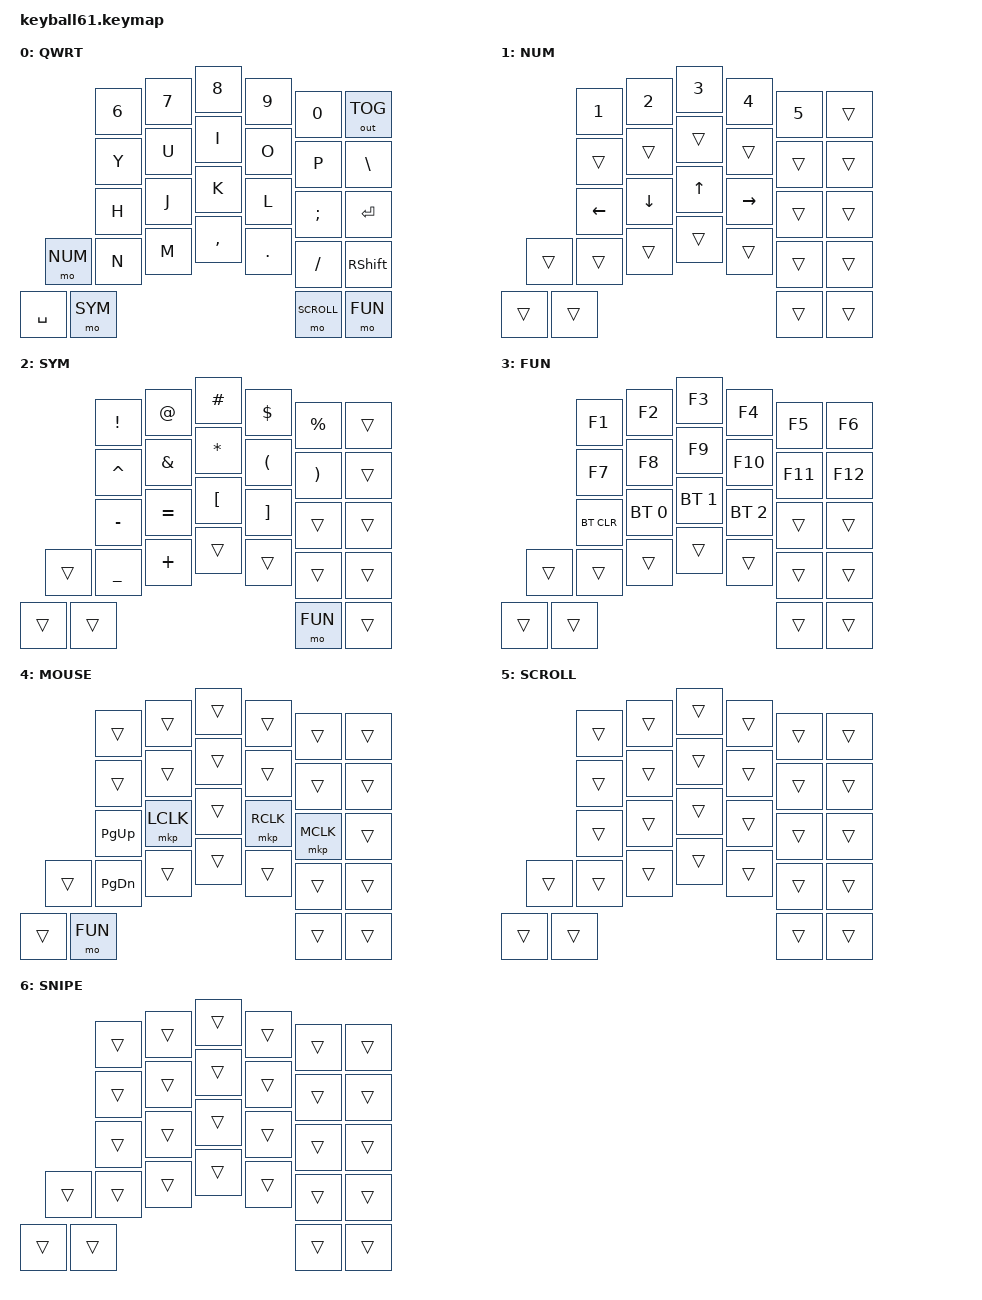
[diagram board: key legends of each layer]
#define DEFAULT 0
#define NUM     1
#define SYM     2
#define FUN     3
#define MOUSE   4
#define SCROLL  5
#define SNIPE   6

#include <behaviors.dtsi>
#include <dt-bindings/zmk/bt.h>
#include <dt-bindings/zmk/keys.h>
#include <dt-bindings/zmk/outputs.h>
#include <dt-bindings/zmk/pointing.h>
#include <input/processors.dtsi>

&lt {
    tapping-term-ms = <240>;
    flavor = "balanced";
    quick-tap-ms = <150>;
};

&mt {
    tapping-term-ms = <200>;
    flavor = "tap-preferred";
    quick-tap-ms = <150>;
};

// ZMK公式標準のオートマウスレイヤー設定（トラックボール操作時に自動でレイヤー4を有効化）
&zip_temp_layer {
    require-prior-idle-ms = <200>;
};

// トラックボールの動作設定（通常時はオートマウスレイヤー4、レイヤー5でスクロール、レイヤー6でスナイプ）
&trackball_listener {
    input-processors = <&zip_temp_layer 4 400>;
};

/ {
    keymap {
        compatible = "zmk,keymap";

        default_layer {
            display-name = "QWRT";
            bindings = <
                &kp N6       &kp N7  &kp N8     &kp N9   &kp N0         &out OUT_TOG
                &kp Y        &kp U   &kp I      &kp O    &kp P          &kp BACKSLASH
                &kp H        &kp J   &kp K      &kp L    &kp SEMI       &kp ENTER
        &mo NUM &kp N        &kp M   &kp COMMA  &kp DOT  &kp FSLH       &kp RIGHT_SHIFT
        &kp SPACE &mo SYM                                &mo SCROLL     &mo FUN
            >;
        };

        number_layer {
            display-name = "NUM";
            bindings = <
                &kp N1    &kp N2    &kp N3  &kp N4     &kp N5  &trans
                &trans    &trans    &trans  &trans     &trans  &trans
                &kp LEFT  &kp DOWN  &kp UP  &kp RIGHT  &trans  &trans
        &trans  &trans    &trans    &trans  &trans     &trans  &trans
        &trans  &trans                                 &trans  &trans
            >;
        };

        symbol_layer {
            display-name = "SYM";
            bindings = <
                &kp EXCLAMATION  &kp AT_SIGN   &kp HASH      &kp DOLLAR    &kp PERCENT  &trans
                &kp CARET        &kp AMPS      &kp ASTRK     &kp LPAR      &kp RPAR     &trans
                &kp MINUS        &kp EQUAL     &kp LBKT      &kp RBKT      &trans       &trans
        &trans  &kp UNDER        &kp PLUS      &trans        &trans        &trans       &trans
        &trans  &trans                                                     &mo FUN      &trans
            >;
        };

        function_layer {
            display-name = "FUN";
            bindings = <
                &kp F1      &kp F2       &kp F3       &kp F4       &kp F5  &kp F6
                &kp F7      &kp F8       &kp F9       &kp F10      &kp F11 &kp F12
                &bt BT_CLR  &bt BT_SEL 0 &bt BT_SEL 1 &bt BT_SEL 2 &trans  &trans
        &trans  &trans      &trans       &trans       &trans       &trans  &trans
        &trans  &trans                                             &trans  &trans
            >;
        };

        mouse_layer {
            display-name = "MOUSE";
            bindings = <
                &trans         &trans     &trans  &trans     &trans     &trans
                &trans         &trans     &trans  &trans     &trans     &trans
                &kp PAGE_UP    &mkp LCLK  &trans  &mkp RCLK  &mkp MCLK  &trans
        &trans  &kp PAGE_DOWN  &trans     &trans  &trans     &trans     &trans
        &trans  &mo FUN                                      &trans     &trans
            >;
        };

        scroll_layer {
            display-name = "SCROLL";
            bindings = <
                &trans  &trans  &trans  &trans  &trans  &trans
                &trans  &trans  &trans  &trans  &trans  &trans
                &trans  &trans  &trans  &trans  &trans  &trans
        &trans  &trans  &trans  &trans  &trans  &trans  &trans
        &trans  &trans                          &trans  &trans
            >;
        };

        snipe_layer {
            display-name = "SNIPE";
            bindings = <
                &trans  &trans  &trans  &trans  &trans  &trans
                &trans  &trans  &trans  &trans  &trans  &trans
                &trans  &trans  &trans  &trans  &trans  &trans
        &trans  &trans  &trans  &trans  &trans  &trans  &trans
        &trans  &trans                          &trans  &trans
            >;
        };
    };
};

&trackball {
    cpi = <800>;
};
